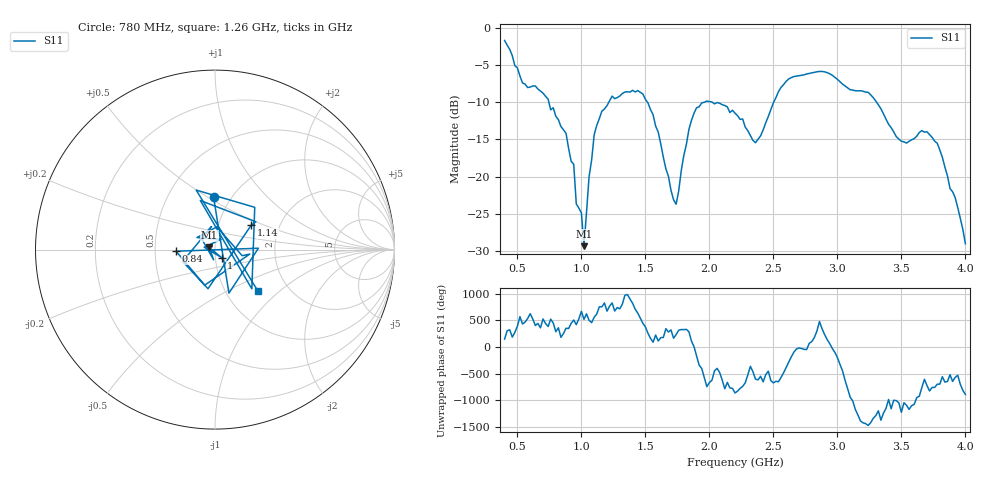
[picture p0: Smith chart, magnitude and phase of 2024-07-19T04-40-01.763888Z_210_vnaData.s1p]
!Created with skrf (http://scikit-rf.org).
# Hz S RI R 50.0
!freq ReS11 ImS11
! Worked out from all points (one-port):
!   181 points, 400 MHz to 4 GHz, reference 50 ohm
!   lowest |S11| = -29.3 dB at 1.02 GHz (marker M1), VSWR 1.07, Z = 46.9 + j1.12 ohm
!   |S11| at or under -10 dB: 745.8 MHz to 1.214 GHz (468.2 MHz wide, 47.8 % of centre); 2.023 GHz to 2.502 GHz (478.9 MHz wide, 21.2 % of centre); 3.306 GHz to end of sweep (the widest 3 of 4)
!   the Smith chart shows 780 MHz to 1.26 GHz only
!   S11 on the Smith chart (normalised r, x): 780 MHz: 0.83, +0.53; 840 MHz: 0.64, -0.01; 1 GHz: 1.07, -0.10; 1.14 GHz: 1.44, +0.42; 1.26 GHz: 1.41, -0.74
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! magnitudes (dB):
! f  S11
! 400 MHz  -1.7
! 540 MHz  -7.4
! 780 MHz  -10.7
! 840 MHz  -13.3
! 860 MHz  -13.7
! 940 MHz  -18.3
! 960 MHz  -23.6
! 1 GHz  -24.9
! 1.02 GHz  -29.3
! 1.06 GHz  -20.0
! 1.1 GHz  -14.3
! 1.14 GHz  -12.2
! 1.26 GHz  -9.5
! 1.3 GHz  -9.2
! 1.48 GHz  -8.9
! 1.6 GHz  -14.0
! 1.72 GHz  -23.1
! 1.76 GHz  -21.9
! 1.84 GHz  -13.6
! 1.9 GHz  -10.7
! 2.2 GHz  -11.5
! 2.36 GHz  -15.4
! 2.66 GHz  -6.5
! 3.1 GHz  -8.3
! 3.24 GHz  -8.7
! 3.56 GHz  -15.2
! 3.78 GHz  -15.5
! 4 GHz  -29.0
